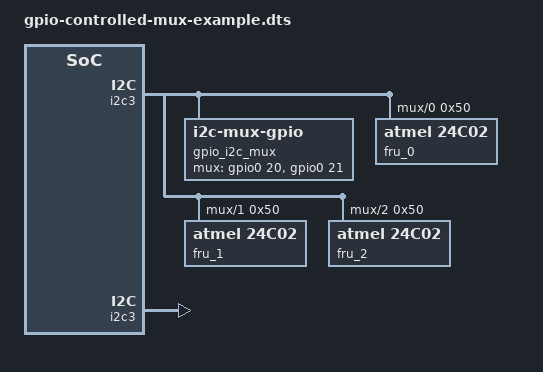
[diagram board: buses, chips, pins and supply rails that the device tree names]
/dts-v1/;
/plugin/;

#include <dt-bindings/gpio/gpio.h>

/*
 * Two GPIO selector bits create states 0..3. This board uses state 3 as an
 * electrically disconnected idle state; remove idle-state if hardware does
 * not provide that behavior.
 */

/ {
	gpio_i2c_mux: i2c-mux-gpio {
		compatible = "i2c-mux-gpio";
		#address-cells = <1>;
		#size-cells = <0>;
		i2c-parent = <&i2c3>;
		mux-gpios = <&gpio0 20 GPIO_ACTIVE_HIGH>,
			      <&gpio0 21 GPIO_ACTIVE_HIGH>;
		idle-state = <3>;
		settle-time-us = <5>;

		i2c@0 {
			reg = <0>;
			#address-cells = <1>;
			#size-cells = <0>;

			fru_0: eeprom@50 {
				compatible = "atmel,24c02";
				reg = <0x50>;
				pagesize = <8>;
			};
		};

		i2c@1 {
			reg = <1>;
			#address-cells = <1>;
			#size-cells = <0>;

			fru_1: eeprom@50 {
				compatible = "atmel,24c02";
				reg = <0x50>;
				pagesize = <8>;
			};
		};

		i2c@2 {
			reg = <2>;
			#address-cells = <1>;
			#size-cells = <0>;

			fru_2: eeprom@50 {
				compatible = "atmel,24c02";
				reg = <0x50>;
				pagesize = <8>;
			};
		};
	};
};

&i2c3 {
	status = "okay";
};

